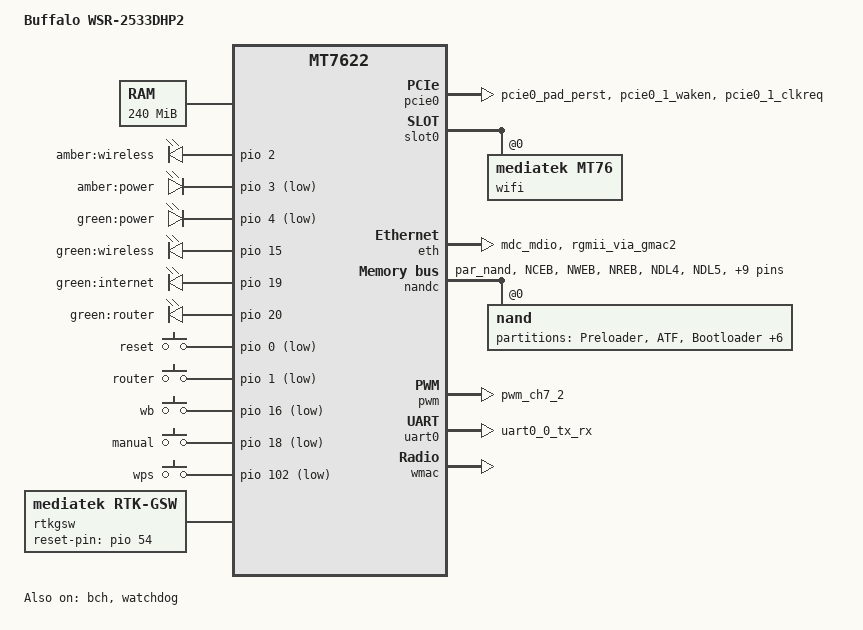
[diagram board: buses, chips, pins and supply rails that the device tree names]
// SPDX-License-Identifier: GPL-2.0-or-later OR MIT
/dts-v1/;
#include <dt-bindings/input/input.h>
#include <dt-bindings/gpio/gpio.h>

#include "mt7622.dtsi"
#include "mt6380.dtsi"

/ {
	model = "Buffalo WSR-2533DHP2";
	compatible = "buffalo,wsr-2533dhp2", "mediatek,mt7622";

	aliases {
		serial0 = &uart0;
		led-boot = &power_green;
		led-failsafe = &power_amber;
		led-running = &power_green;
		led-upgrade = &power_green;
	};

	chosen {
		bootargs = "earlycon=uart8250,mmio32,0x11002000 console=ttyS0,115200n8 swiotlb=512";
	};

	memory {
		reg = <0 0x40000000 0 0x0F000000>;
	};

	leds {
		compatible = "gpio-leds";

		wireless_amber {
			label = "amber:wireless";
			gpios = <&pio 2 GPIO_ACTIVE_HIGH>;
		};

		power_amber: power_amber {
			label = "amber:power";
			gpios = <&pio 3 GPIO_ACTIVE_LOW>;
		};

		power_green: power_green {
			label = "green:power";
			gpios = <&pio 4 GPIO_ACTIVE_LOW>;
			default-state = "on";
		};

		wireless_green {
			label = "green:wireless";
			gpios = <&pio 15 GPIO_ACTIVE_HIGH>;
		};

		internet {
			label = "green:internet";
			gpios = <&pio 19 GPIO_ACTIVE_HIGH>;
		};

		router {
			label = "green:router";
			gpios = <&pio 20 GPIO_ACTIVE_HIGH>;
		};
	};

	keys {
		compatible = "gpio-keys";
		poll-interval = <100>;

		reset {
			label = "reset";
			gpios = <&pio 0 GPIO_ACTIVE_LOW>;
			linux,code = <KEY_RESTART>;
		};

		/* GPIO 1 and 16 are a tri-state switch button with
		 * ROUTER / AP / WB.
		 */
		router {
			label = "router";
			gpios = <&pio 1 GPIO_ACTIVE_LOW>;
			linux,code = <BTN_0>;
			linux,input-type = <EV_SW>;
		};

		bridge {
			label = "wb";
			gpios = <&pio 16 GPIO_ACTIVE_LOW>;
			linux,code = <BTN_1>;
			linux,input-type = <EV_SW>;
		};

		/* GPIO 18 is a switch button with AUTO / MANUAL. */
		manual {
			label = "manual";
			gpios = <&pio 18 GPIO_ACTIVE_LOW>;
			linux,code = <BTN_2>;
			linux,input-type = <EV_SW>;
		};

		wps {
			label = "wps";
			gpios = <&pio 102 GPIO_ACTIVE_LOW>;
			linux,code = <KEY_WPS_BUTTON>;
		};
	};

	rtkgsw: rtkgsw@0 {
		compatible = "mediatek,rtk-gsw";
		mediatek,ethsys = <&ethsys>;
		mediatek,mdio = <&mdio>;
		mediatek,reset-pin = <&pio 54 GPIO_ACTIVE_HIGH>;
	};
};

&cpu0 {
	proc-supply = <&mt6380_vcpu_reg>;
	sram-supply = <&mt6380_vm_reg>;
};

&cpu1 {
	proc-supply = <&mt6380_vcpu_reg>;
	sram-supply = <&mt6380_vm_reg>;
};

&pcie0 {
	pinctrl-names = "default";
	pinctrl-0 = <&pcie0_pins>;
	status = "okay";
};

&slot0 {
	status = "okay";

	wifi@0,0 {
		compatible = "mediatek,mt76";
		reg = <0x0000 0 0 0 0>;
		mediatek,mtd-eeprom = <&factory 0x5000>;
		ieee80211-freq-limit = <5000000 6000000>;
	};
};

&pio {
	eth_pins: eth-pins {
		mux {
			function = "eth";
			groups = "mdc_mdio", "rgmii_via_gmac2";
		};
	};

	/* Parallel nand is shared pin with eMMC */
	parallel_nand_pins: parallel-nand-pins {
		mux {
			function = "flash";
			groups = "par_nand";
		};

		conf-cmd-dat {
			pins = "NCEB", "NWEB", "NREB",
				  "NDL4", "NDL5", "NDL6",
				  "NDL7", "NRB", "NCLE",
				  "NALE", "NDL0", "NDL1",
				  "NDL2", "NDL3";
			input-enable;
			drive-strength = <8>;
			bias-pull-up;
		};
	};

	pcie0_pins: pcie0-pins {
		mux {
			function = "pcie";
			groups = "pcie0_pad_perst",
				 "pcie0_1_waken",
				 "pcie0_1_clkreq";
		};
	};

	pmic_bus_pins: pmic-bus-pins {
		mux {
			function = "pmic";
			groups = "pmic_bus";
		};
	};

	pwm7_pins: pwm1-2-pins {
		mux {
			function = "pwm";
			groups = "pwm_ch7_2";
		};
	};

	uart0_pins: uart0-pins {
		mux {
			function = "uart";
			groups = "uart0_0_tx_rx" ;
		};
	};

	watchdog_pins: watchdog-pins {
		mux {
			function = "watchdog";
			groups = "watchdog";
		};
	};
};

&bch {
	status = "okay";
};

&eth {
	pinctrl-names = "default";
	pinctrl-0 = <&eth_pins>;
	status = "okay";

	gmac0: mac@0 {
		compatible = "mediatek,eth-mac";
		reg = <0>;

		phy-connection-type = "2500base-x";

		nvmem-cells = <&macaddr_factory_4>;
		nvmem-cell-names = "mac-address";
		mac-address-increment = <(-1)>;

		fixed-link {
			speed = <2500>;
			full-duplex;
			pause;
		};
	};

	mdio: mdio-bus {
		#address-cells = <1>;
		#size-cells = <0>;
	};
};

&nandc {
	pinctrl-names = "default";
	pinctrl-0 = <&parallel_nand_pins>;
	status = "okay";

	nand@0 {
		reg = <0>;
		nand-ecc-mode = "hw";

		partitions {
			compatible = "fixed-partitions";
			#address-cells = <1>;
			#size-cells = <1>;

			partition@0 {
				label = "Preloader";
				reg = <0x0 0x80000>;
				read-only;
			};

			partition@80000 {
				label = "ATF";
				reg = <0x80000 0x40000>;
				read-only;
			};

			partition@c0000 {
				label = "Bootloader";
				reg = <0xc0000 0x80000>;
				read-only;
			};

			partition@140000 {
				label = "Config";
				reg = <0x140000 0x80000>;
			};

			factory: partition@1c0000 {
				label = "factory";
				reg = <0x1c0000 0x40000>;
				read-only;
			};

			partition@200000 {
				compatible = "brcm,trx";
				brcm,trx-magic = <0x32504844>;
				label = "firmware";
				reg = <0x200000 0x3a00000>;
			};

			partition@3C00000 {
				label = "Kernel2";
				reg = <0x3c00000 0x3a00000>;
			};

			partition@7600000 {
				label = "glbcfg";
				reg = <0x7600000 0x200000>;
				read-only;
			};

			partition@7800000 {
				label = "board_data";
				reg = <0x7800000 0x200000>;
				read-only;
			};
		};
	};
};

&pwm {
	pinctrl-names = "default";
	pinctrl-0 = <&pwm7_pins>;
	status = "okay";
};

&pwrap {
	pinctrl-names = "default";
	pinctrl-0 = <&pmic_bus_pins>;
	status = "okay";
};

&uart0 {
	pinctrl-names = "default";
	pinctrl-0 = <&uart0_pins>;
	status = "okay";
};

&watchdog {
	pinctrl-names = "default";
	pinctrl-0 = <&watchdog_pins>;
	status = "okay";
};

&wmac {
	status = "okay";

	mediatek,mtd-eeprom = <&factory 0x0>;
};

&rtc {
	status = "disabled";
};

&factory {
	compatible = "nvmem-cells";
	#address-cells = <1>;
	#size-cells = <1>;

	macaddr_factory_4: macaddr@4 {
		reg = <0x4 0x6>;
	};
};
